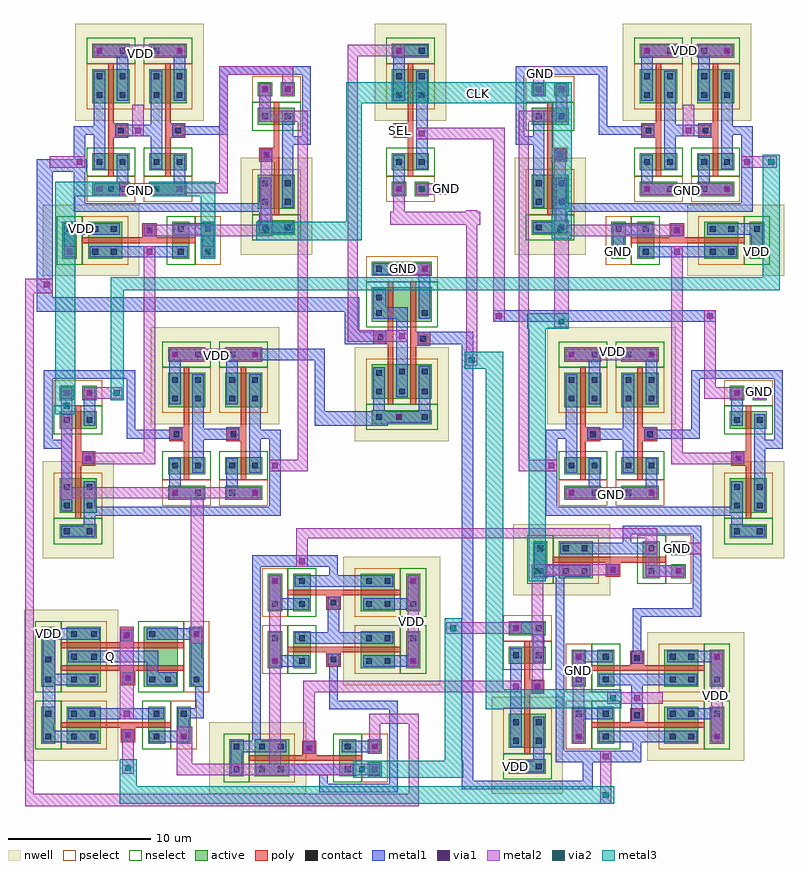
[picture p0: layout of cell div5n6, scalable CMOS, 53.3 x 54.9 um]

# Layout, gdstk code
from math import pi, radians
import gdstk
lib = gdstk.Library(unit=1e-6, precision=1e-09)
def R(c, l, rs):  # rectangles x0, y0, x1, y1
    for r in rs: c.add(gdstk.rectangle(r[:2], r[2:], *l))
def A(c, l, x, y, w, h, nx, ny, dx, dy):  # array of equal rectangles
    R(c, l, [(x+i*dx, y+j*dy, x+i*dx+w, y+j*dy+h) for i in range(nx) for j in range(ny)])
contact = (25, 0)
nwell = (42, 0)
active = (43, 0)
pselect = (44, 0)
nselect = (45, 0)
poly = (46, 0)
metal1 = (49, 0)
via1 = (50, 0)
metal2 = (51, 0)
via2 = (61, 0)
metal3 = (62, 0)

nand = lib.new_cell('nand')
A(nand, contact, -20, 23.7, 0.4, 0.4, 3, 1, 1.6, 0)
R(nand, contact, [(-20,15.1,-19.6,15.5), (-16.8,15.1,-16.4,15.5), (-20,17.1,-19.6,17.5), (-20,18.2,-19.6,18.6), (-16.8,18.2,-16.4,18.6), (-19.9,19.9,-19.5,20.3), (-16.9,20,-16.5,20.4), (-18.4,22.3,-18,22.7), (-16.8,22.3,-16.4,22.7), (-20,22.4,-19.6,22.8), (-20,25.5,-19.6,25.9), (-18.6,25.5,-18.2,25.9), (-16.8,25.5,-16.4,25.9)])
R(nand, nwell, [(-21.5,20.8,-14.9,27.4)])
R(nand, active, [(-20.3,14.8,-16.1,15.8), (-20.3,16.6,-16.1,19), (-20.3,22,-16.1,24.4), (-20.3,25.2,-16.1,26.2)])
R(nand, pselect, [(-20.7,14.4,-15.7,16.2), (-20.7,21.6,-15.7,24.8)])
R(nand, nselect, [(-20.7,16.2,-15.7,19.4), (-20.7,24.8,-15.7,26.6)])
R(nand, poly, [(-19.2,16.2,-18.8,24.8), (-17.6,16.2,-17.2,24.8), (-20.2,19.6,-19.2,20.6), (-17.2,19.7,-16.2,20.7)])
R(nand, metal1, [(-20.2,14.9,-16.2,15.7), (-17,15,-16.2,18.8), (-20.2,16.7,-19.3,18.8), (-20.1,18,-17.8,18.8), (-18.6,18,-17.8,24.3), (-20.1,19.7,-19.3,20.5), (-17.1,19.8,-16.3,20.6), (-17,22.1,-16.2,26), (-20.2,22.2,-19.4,26.1), (-20.2,25.3,-16.2,26.1)])
nand.add(gdstk.Label('VDD', (-16.6,25.7), layer=75, texttype=0))
nand.add(gdstk.Label('GND', (-16.6,15.3), layer=75, texttype=0))
nand.add(gdstk.Label('OUT0', (-18.4,19.4), layer=75, texttype=0))
nand.add(gdstk.Label('IN0', (-16.6,20.2), layer=75, texttype=0))
nand.add(gdstk.Label('IN1', (-19.7,20.1), layer=75, texttype=0))

buffer = lib.new_cell('buffer')
R(buffer, contact, [(-20.4,-3.6,-20,-3.2), (-18.8,-3.6,-18.4,-3.2), (-20.4,-1.7,-20,-1.3), (-18.8,-1.7,-18.4,-1.3), (-20.3,0.3,-19.9,0.7), (-20.4,2.8,-20,3.2), (-18.8,2.8,-18.4,3.2), (-20.4,4.1,-20,4.5), (-18.8,4.1,-18.4,4.5), (-20.4,5.9,-20,6.3), (-18.8,5.9,-18.4,6.3)])
R(buffer, nwell, [(-21.9,1.2,-17.3,7.8)])
R(buffer, active, [(-20.7,-3.9,-18.1,-2.9), (-20.7,-2.1,-18.1,-0.9), (-20.7,2.4,-18.1,4.8), (-20.7,5.6,-18.1,6.6)])
R(buffer, pselect, [(-21.1,-4.3,-17.7,-2.5), (-21.1,2,-17.7,5.2)])
R(buffer, nselect, [(-21.1,-2.5,-17.7,-0.5), (-21.1,5.2,-17.7,7)])
R(buffer, poly, [(-19.6,-2.5,-19.2,5.2), (-20.6,0,-19.6,1)])
R(buffer, metal1, [(-18.9,-4.8,-18.2,-3), (-18.9,-4.8,-14.7,-4.2), (-20.6,-3.8,-18.2,-3), (-20.6,-3.8,-19.8,-1), (-19,-2,-18.2,4.7), (-20.5,0.1,-19.7,0.9), (-20.6,2.6,-19.8,6.5), (-19.3,5.6,-12.6,6.5), (-20.6,5.7,-18.2,6.5)])
R(buffer, via1, [(-16.3,0.3,-15.9,0.7), (-18.8,0.4,-18.4,0.8), (-13.3,0.4,-12.9,0.8)])
R(buffer, metal2, [(-19,0.1,-12.5,1.1)])
buffer.add(gdstk.Reference(nand, (3.6,-19.6)))
buffer.add(gdstk.Label('VDD', (-18.6,6.1), layer=75, texttype=0))
buffer.add(gdstk.Label('IN0', (-20.1,0.5), layer=75, texttype=0))
buffer.add(gdstk.Label('GND', (-18.6,-3.4), layer=75, texttype=0))
buffer.add(gdstk.Label('OUT0', (-14.6,1.7), layer=75, texttype=0))

inv = lib.new_cell('inv')
R(inv, contact, [(-19.3,15.8,-18.9,16.2), (-17.7,15.8,-17.3,16.2), (-19.3,17.7,-18.9,18.1), (-17.7,17.7,-17.3,18.1), (-19.2,19.9,-18.8,20.3), (-19.3,22.4,-18.9,22.8), (-17.7,22.4,-17.3,22.8), (-19.3,23.7,-18.9,24.1), (-17.7,23.7,-17.3,24.1), (-19.3,25.5,-18.9,25.9), (-17.7,25.5,-17.3,25.9)])
R(inv, nwell, [(-20.8,20.8,-15.8,27.6)])
R(inv, active, [(-19.6,15.5,-17,16.5), (-19.6,17.3,-17,18.5), (-19.6,22,-17,24.4), (-19.6,25.2,-17,26.2)])
R(inv, pselect, [(-20,15.1,-16.6,16.9), (-20,21.6,-16.6,24.8)])
R(inv, nselect, [(-20,16.9,-16.6,18.9), (-20,24.8,-16.6,26.6)])
R(inv, poly, [(-18.5,16.9,-18.1,24.8), (-19.5,19.6,-18.5,20.6)])
R(inv, metal1, [(-19.5,15.6,-17.1,16.4), (-19.5,15.6,-18.7,18.4), (-17.9,17.4,-17.1,24.3), (-19.4,19.7,-18.6,20.5), (-19.5,22.2,-18.7,26.1), (-19.5,25.3,-17.1,26.1)])
inv.add(gdstk.Label('VDD', (-17.5,25.7), layer=75, texttype=0))
inv.add(gdstk.Label('GND', (-17.5,16), layer=75, texttype=0))
inv.add(gdstk.Label('OUT0', (-17.5,19.3), layer=75, texttype=0))
inv.add(gdstk.Label('IN0', (-19,20.1), layer=75, texttype=0))

cmos_latch = lib.new_cell('CMOS_latch')
R(cmos_latch, contact, [(-10.1,-8.6,-9.7,-8.2), (-8.5,-8.6,-8.1,-8.2), (-10.1,-6.8,-9.7,-6.4), (-8.5,-6.8,-8.1,-6.4), (-10.1,-5.5,-9.7,-5.1), (-8.5,-5.5,-8.1,-5.1), (-8.6,-3.5,-8.2,-3.1), (-10.1,-0.8,-9.7,-0.4), (-8.5,-0.8,-8.1,-0.4), (-10.1,1.1,-9.7,1.5), (-8.5,1.1,-8.1,1.5)])
R(cmos_latch, nwell, [(-11.6,-10.3,-6.6,-3.5), (-4,-0.9,5,5.9)])
R(cmos_latch, active, [(-10.4,-8.9,-7.8,-7.9), (-10.4,-7.1,-7.8,-4.7), (-10.4,-1.2,-7.8,0), (-10.4,0.8,-9.4,1.8), (-8.8,0.8,-7.8,1.8)])
R(cmos_latch, pselect, [(-10.8,-7.5,-7.4,-4.3), (-10.8,0.4,-7.4,2.2)])
R(cmos_latch, nselect, [(-10.8,-9.3,-7.4,-7.5), (-10.8,-1.6,-7.4,0.4)])
R(cmos_latch, poly, [(-9.3,-7.5,-8.9,0.4), (-8.9,-3.8,-7.9,-2.8)])
R(cmos_latch, metal1, [(-10.3,-8.8,-7.9,-8), (-8.7,-8.7,-7.9,-4.9), (-8.7,-7.3,4.9,-6.7), (4.3,-7.3,5.1,-1.3), (-10.3,-7,-9.5,-0.2), (-8.8,-3.7,-8,-2.9), (-11.5,-2.6,-10.9,2.8), (-11.5,-2.6,-9.5,-2), (-1.1,-2,2.2,-1.2), (-5.7,-1.9,-5.1,2.9), (-5.6,-1.9,-1.8,-1.3), (2.9,-1.9,4.9,-1.3), (-8.7,-1,-7.9,1.7), (-10.3,0.9,-9.5,1.7), (-11.5,2.3,-5.1,2.9)])
cmos_latch.add(gdstk.Reference(inv, (16.8,-21.7)))
cmos_latch.add(gdstk.Reference(inv, (20.8,-21.7)))
cmos_latch.add(gdstk.Label('GND', (-9.9,1.3), layer=75, texttype=0))
cmos_latch.add(gdstk.Label('GND', (3.3,-5.7), layer=75, texttype=0))
cmos_latch.add(gdstk.Label('GND', (-0.7,-5.7), layer=75, texttype=0))
cmos_latch.add(gdstk.Label('QB', (0.6,-1.4), layer=75, texttype=0))
cmos_latch.add(gdstk.Label('VDD', (3.3,4), layer=75, texttype=0))
cmos_latch.add(gdstk.Label('VDD', (-0.7,4), layer=75, texttype=0))
cmos_latch.add(gdstk.Label('Q', (4.7,-3.8), layer=75, texttype=0))
cmos_latch.add(gdstk.Label('CLK', (-8.4,-3.3), layer=75, texttype=0))
cmos_latch.add(gdstk.Label('D', (-8.3,1.3), layer=75, texttype=0))

dff2 = lib.new_cell('DFF2')
R(dff2, via1, [(-7.1,-20.7,-6.7,-20.3), (-1.5,-20.7,-1.1,-20.3), (-8.5,-18.8,-8.1,-18.4), (4.6,-18.3,5,-17.9), (4.5,-13.7,4.9,-13.3), (6.1,-13.7,6.5,-13.3), (-7.1,-11,-6.7,-10.6), (-1.5,-11,-1.1,-10.6), (-3.8,-3.8,-3.4,-3.4), (0.3,-3.8,0.7,-3.4), (5.9,-3.8,6.3,-3.4), (0.3,-2.3,0.7,-1.9), (-1.8,0.6,-1.4,1), (3.8,0.6,4.2,1), (5.2,2.5,5.6,2.9), (-7.9,3,-7.5,3.4), (1.1,4.7,1.5,5.1), (-9.4,7.6,-9,8), (-7.8,7.6,-7.4,8), (-1.8,10.3,-1.4,10.7), (3.8,10.3,4.2,10.7)])
R(dff2, metal2, [(-7.3,-20.9,-0.9,-20.1), (-10.6,-19,-7.9,-18.2), (-10.6,-19,-9.9,6.3), (-8.7,-19,-7.9,-18.2), (0.1,-18.5,0.9,-3.2), (0.1,-18.5,5.2,-17.7), (2.4,-13.9,5.1,-13.1), (5.9,-13.9,6.7,-13.1), (-7.3,-11.2,-0.9,-10.4), (-4,-4,-3.2,-3.2), (5.7,-4,6.5,-3.2), (-8.1,-2.5,0.9,-1.7), (-8.1,-2.5,-7.3,3.6), (-2,0.4,4.4,1.2), (5,2.3,7.5,3.1), (0.9,4.5,1.7,6.7), (-10.6,5.5,-7.2,6.3), (-8,5.5,-7.2,8.2), (-9.6,7.4,-8.8,8.2), (-9.6,7.4,-8.8,9.4), (-8,7.4,-7.2,8.2), (-2,10.1,4.4,10.9)])
dff2.add(gdstk.Reference(inv, (-19.6,-21.1), rotation=3*pi/2))
dff2.add(gdstk.Reference(cmos_latch, (-3.6,-14.8), rotation=pi, x_reflection=True))
dff2.add(gdstk.Reference(cmos_latch, (0.7,6.5)))
dff2.add(gdstk.Label('QB', (1.3,4.9), layer=76, texttype=0))
dff2.add(gdstk.Label('Q', (5.4,2.7), layer=76, texttype=0))
dff2.add(gdstk.Label('VDD', (6.1,-3.6), layer=76, texttype=0))
dff2.add(gdstk.Label('GND', (-3.6,-3.6), layer=76, texttype=0))
dff2.add(gdstk.Label('GND', (1.2,0.7), layer=76, texttype=0))
dff2.add(gdstk.Label('VDD', (1.2,10.4), layer=76, texttype=0))
dff2.add(gdstk.Label('VDD', (-4.1,-10.9), layer=76, texttype=0))
dff2.add(gdstk.Label('GND', (-4.1,-20.6), layer=76, texttype=0))
dff2.add(gdstk.Label('GND', (-9.2,8.9), layer=76, texttype=0))
dff2.add(gdstk.Label('GND', (6.3,-13.5), layer=76, texttype=0))
dff2.add(gdstk.Label('D', (2.7,-13.5), layer=76, texttype=0))
dff2.add(gdstk.Label('CLK', (0.5,-2.1), layer=76, texttype=0))

div5n6 = lib.new_cell('div5n6')
R(div5n6, contact, [(13.4,5.2,13.8,5.6), (15,5.2,15.4,5.6), (13.4,7.1,13.8,7.5), (15,7.1,15.4,7.5), (13.5,9.3,13.9,9.7), (13.5,9.3,13.9,9.7), (13.4,11.8,13.8,12.2), (15,11.8,15.4,12.2), (13.4,13.1,13.8,13.5), (15,13.1,15.4,13.5), (13.4,14.9,13.8,15.3), (15,14.9,15.4,15.3)])
R(div5n6, nwell, [(11.9,10.2,16.9,17)])
R(div5n6, active, [(13.1,4.9,14.1,5.9), (14.7,4.9,15.7,5.9), (13.1,6.7,15.7,7.9), (13.1,11.4,15.7,13.8), (13.1,14.6,15.7,15.6)])
R(div5n6, pselect, [(12.7,4.5,16.1,6.3), (12.7,11,16.1,14.2)])
R(div5n6, nselect, [(12.7,6.3,16.1,8.3), (12.7,14.2,16.1,16)])
R(div5n6, poly, [(14.2,6.3,14.6,14.2), (13.2,9,14.2,10)])
R(div5n6, metal1, [(18,-36.7,27.2,-36.1), (26.5,-36.7,27.2,-34), (18,-36.4,18.8,-4.6), (7.7,-11.2,12.8,-10.2), (7.7,-11.2,8.4,-5.8), (2.9,-6.6,8.4,-5.8), (9.8,-5.5,10.8,-2.2), (9.9,-5.5,12.7,-4.6), (14.9,-5.5,18.2,-4.6), (20.2,-3.9,35.8,-3.1), (-11.8,-3.2,-10.7,7.5), (-11.8,-3.2,10.8,-2.2), (13.2,5,14,5.8), (13.2,5,14,7.8), (14.8,5,15.6,5.8), (-11.8,6.6,-8.3,7.5), (14.8,6.8,15.6,13.7), (13.3,9.1,14.1,9.9), (13.2,11.6,14,15.5), (13.2,14.7,15.6,15.5)])
R(div5n6, via1, [(-1.7,-33.2,-1.3,-32.8), (-5.6,-33.1,-5.2,-32.7), (-0.8,-26,-0.4,-25.6), (13.4,-10.8,13.8,-10.4), (13.6,-5.1,14,-4.7), (20.4,-3.7,20.8,-3.3), (35.2,-3.7,35.6,-3.3), (-11.3,-1.5,-10.9,-1.1), (15.2,-0.4,15.6,0), (13.4,5.2,13.8,5.6), (15,5.2,15.4,5.6), (15,9.1,15.4,9.5), (13.5,9.3,13.9,9.7), (13.5,9.3,13.9,9.7), (13.4,14.9,13.8,15.3), (13.4,14.9,13.8,15.3)])
R(div5n6, metal2, [(-12.6,-37.9,-12,-0.9), (-12.5,-37.9,15,-37), (14.3,-37.9,15,-31.4), (27.7,-37.7,28.5,-34), (-2,-35.7,-0.9,-32.3), (-2,-35.7,12.3,-34.9), (-5.8,-35.6,-5,-32.5), (4.5,-35.6,5.3,-27), (11.6,-32.1,15,-31.4), (28.2,-30.7,30.7,-29.9), (-1,-26.5,-0.1,-23.7), (16.9,-25.8,22.2,-25), (-1,-24.9,-0.1,-15.5), (-10.1,-16.4,-9.3,-8.5), (-10.2,-16.3,-1.5,-15.5), (35,-9.3,35.8,-3.1), (18.3,-7,19.1,3.9), (10,-5.3,10.7,15.5), (10,-5.3,14.2,-4.5), (24.5,-4.3,25.5,3.1), (20.2,-3.9,21,9.6), (-12.5,-1.9,-10.7,-0.9), (13.1,-0.6,15.8,0.2), (13,2.9,19.3,3.8), (13.2,3.1,14,5.8), (14.8,5,17.6,5.8), (-2.2,5.1,1.6,5.8), (1,5.1,1.6,14), (14.8,8.9,21,9.7), (1,13.4,6.2,14), (10,14.7,14,15.5)])
R(div5n6, via2, [(27.9,-37.3,28.3,-36.9), (10.8,-35.5,11.2,-35.1), (-5.6,-35.4,-5.2,-35), (28.4,-30.5,28.8,-30.1), (17.2,-25.6,17.6,-25.2), (23.1,-21.6,23.5,-21.2), (-9.9,-10,-9.5,-9.6), (-6.4,-9.1,-6,-8.7), (18.5,-6.8,18.9,-6.4), (24.8,-4.1,25.2,-3.7), (0,0.8,0.4,1.2), (4.1,2.3,4.5,2.7), (24.7,2.3,25.1,2.7), (-6.8,5.2,-6.4,5.6), (-3.6,5.2,-3.2,5.6), (15,5.2,15.4,5.6), (39.5,7.1,39.9,7.5)])
R(div5n6, metal3, [(-6,-37.7,28.7,-36.5), (27.5,-37.7,28.7,-36.5), (-6,-37.5,-4.8,-34.6), (10.4,-35.9,18.1,-34.7), (16.8,-35.9,18,-24.7), (19.7,-31.1,20.9,-6.2), (19.7,-31,29.2,-29.7), (22.7,-22.1,23.9,-3.3), (22.7,-22,23.9,-20.8), (-10.5,-10.4,-9.1,5.9), (-6.6,-9.4,-5.7,-0.8), (18.2,-7.2,20.9,-6), (22.6,-4.4,25.5,-3.3), (-6.6,-1.7,40.3,-0.8), (39.1,-1.6,40.3,7.8), (-0.3,0.5,0.7,5.9), (3.6,1.8,11,3.1), (24.3,1.9,25.7,12.9), (24.3,1.9,25.5,3.1), (9.9,2.9,11,12.8), (-10.5,4.9,-6,5.9), (-3.9,4.9,0.7,5.9), (39.1,6.7,40.3,7.8), (9.9,11.4,25.7,12.9)])
div5n6.add(gdstk.Reference(buffer, (-4.9,-12.8), rotation=pi/2))
div5n6.add(gdstk.Reference(nand, (32,15.1), x_reflection=True))
div5n6.add(gdstk.Reference(dff2, (32.6,4.6)))
div5n6.add(gdstk.Reference(dff2, (-3.4,4.6), rotation=pi, x_reflection=True))
div5n6.add(gdstk.Reference(dff2, (25.4,-29), rotation=3*pi/2))
div5n6.add(gdstk.Label('VDD', (-8.7,2.6), layer=75, texttype=0))
div5n6.add(gdstk.Label('VDD', (-11,-25.8), layer=75, texttype=0))
div5n6.add(gdstk.Label('Q', (-6.6,-27.4), layer=75, texttype=0))
div5n6.add(gdstk.Label('SEL', (13.7,9.5), layer=75, texttype=0))
div5n6.add(gdstk.Label('GND', (16.9,5.4), layer=76, texttype=0))
div5n6.add(gdstk.Label('VDD', (21.8,-35.1), layer=76, texttype=0))
div5n6.add(gdstk.Label('VDD', (14.5,-24.9), layer=76, texttype=0))
div5n6.add(gdstk.Label('VDD', (35.8,-30.1), layer=76, texttype=0))
div5n6.add(gdstk.Label('VDD', (-4.5,14.9), layer=76, texttype=0))
div5n6.add(gdstk.Label('VDD', (0.8,-6.3), layer=76, texttype=0))
div5n6.add(gdstk.Label('GND', (33.1,-19.8), layer=76, texttype=0))
div5n6.add(gdstk.Label('GND', (-4.5,5.3), layer=76, texttype=0))
div5n6.add(gdstk.Label('GND', (26.2,-28.4), layer=76, texttype=0))
div5n6.add(gdstk.Label('VDD', (28.6,-6), layer=76, texttype=0))
div5n6.add(gdstk.Label('GND', (28.5,-16), layer=76, texttype=0))
div5n6.add(gdstk.Label('GND', (38.9,-8.8), layer=76, texttype=0))
div5n6.add(gdstk.Label('GND', (23.5,13.5), layer=76, texttype=0))
div5n6.add(gdstk.Label('GND', (33.8,5.3), layer=76, texttype=0))
div5n6.add(gdstk.Label('VDD', (38.7,1), layer=76, texttype=0))
div5n6.add(gdstk.Label('GND', (29,1), layer=76, texttype=0))
div5n6.add(gdstk.Label('VDD', (33.6,15.1), layer=76, texttype=0))
div5n6.add(gdstk.Label('GND', (13.9,-0.2), layer=76, texttype=0))
div5n6.add(gdstk.Label('CLK', (19.2,12.1), layer=77, texttype=0))

lib.write_gds('div5n6.gds')
